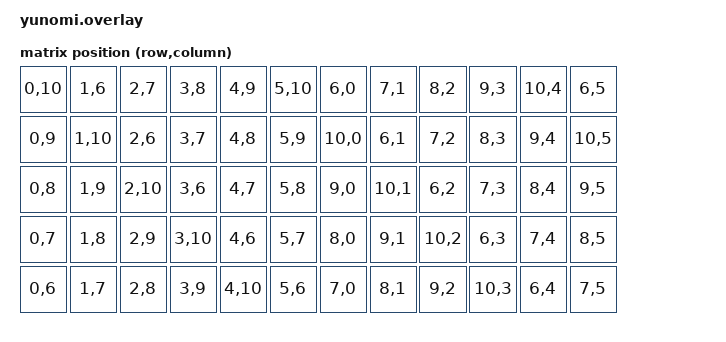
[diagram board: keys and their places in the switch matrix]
/*
 * Gboard Yunomi (Pro Micro base PCB), with a nice!nano in place of the Pro Micro.
 * https://github.com/google/mozc-devices/tree/main/mozc-yunomi
 *
 * The 12 key PCBs form a duplex matrix: 6 "column" pins x 5 "row" pins, and
 * six of the PCBs have reversed diodes, so each pin pair carries two keys.
 * The charlieplex driver scans every direction, which covers this.
 *
 * Stock firmware drives one pin LOW and senses the other with a pull-up
 * (current flows sensed -> driven). The charlieplex driver drives HIGH and
 * senses with a pull-down (current flows row -> col), so each stock
 * {sensed, driven} pair becomes RC(sensed, driven).
 */

#include <dt-bindings/zmk/matrix_transform.h>

/ {
    chosen {
        zmk,kscan = &kscan0;
        zmk,matrix-transform = &default_transform;
    };

    /* Rows top to bottom, columns around the cup, as in firmware.ino keys[][] */
    default_transform: keymap_transform_0 {
        compatible = "zmk,matrix-transform";
        rows = <11>;
        columns = <11>;
        map = <
RC(0,10) RC(1,6) RC(2,7) RC(3,8) RC(4,9) RC(5,10) RC(6,0) RC(7,1) RC(8,2) RC(9,3) RC(10,4) RC(6,5)
RC(0,9) RC(1,10) RC(2,6) RC(3,7) RC(4,8) RC(5,9) RC(10,0) RC(6,1) RC(7,2) RC(8,3) RC(9,4) RC(10,5)
RC(0,8) RC(1,9) RC(2,10) RC(3,6) RC(4,7) RC(5,8) RC(9,0) RC(10,1) RC(6,2) RC(7,3) RC(8,4) RC(9,5)
RC(0,7) RC(1,8) RC(2,9) RC(3,10) RC(4,6) RC(5,7) RC(8,0) RC(9,1) RC(10,2) RC(6,3) RC(7,4) RC(8,5)
RC(0,6) RC(1,7) RC(2,8) RC(3,9) RC(4,10) RC(5,6) RC(7,0) RC(8,1) RC(9,2) RC(10,3) RC(6,4) RC(7,5)
        >;
    };

    kscan0: kscan_0 {
        compatible = "zmk,kscan-gpio-charlieplex";
        /* No interrupt pin on the base PCB, so poll. 10 ms instead of the
         * 1 ms default to reduce idle current. */
        poll-period-ms = <10>;
        gpios
            = <&pro_micro 9 GPIO_ACTIVE_HIGH>   /* 0  C0 */
            , <&pro_micro 8 GPIO_ACTIVE_HIGH>   /* 1  C1 */
            , <&pro_micro 7 GPIO_ACTIVE_HIGH>   /* 2  C2 */
            , <&pro_micro 6 GPIO_ACTIVE_HIGH>   /* 3  C3 */
            , <&pro_micro 5 GPIO_ACTIVE_HIGH>   /* 4  C4 */
            , <&pro_micro 4 GPIO_ACTIVE_HIGH>   /* 5  C5 */
            , <&pro_micro 18 GPIO_ACTIVE_HIGH>  /* 6  R0 */
            , <&pro_micro 15 GPIO_ACTIVE_HIGH>  /* 7  R1 */
            , <&pro_micro 14 GPIO_ACTIVE_HIGH>  /* 8  R2 */
            , <&pro_micro 16 GPIO_ACTIVE_HIGH>  /* 9  R3 */
            , <&pro_micro 10 GPIO_ACTIVE_HIGH>  /* 10 R4 */
            ;
    };
};
